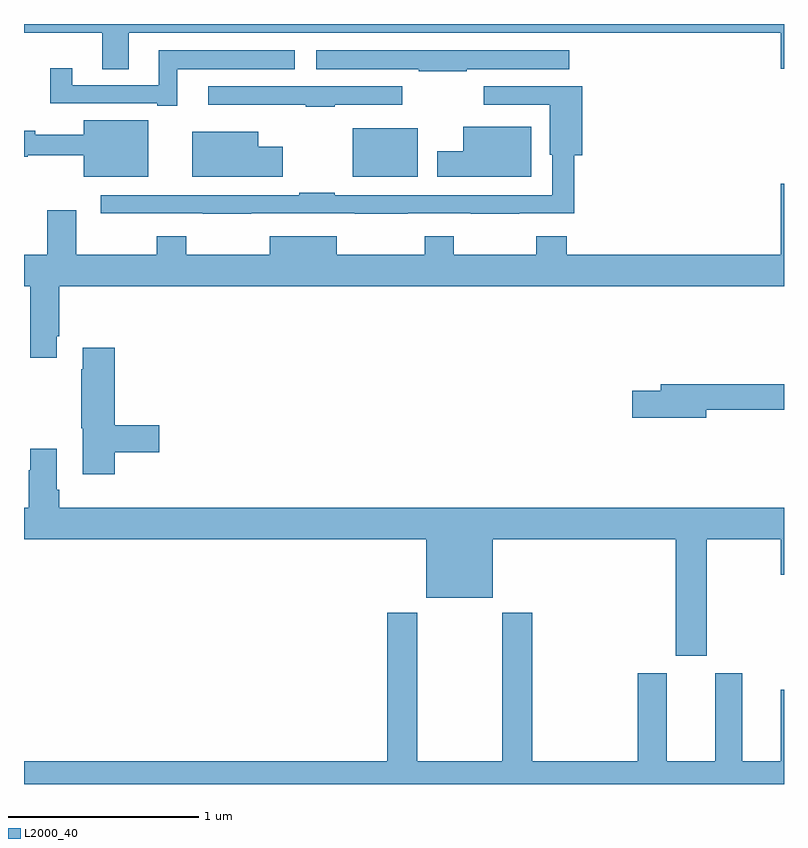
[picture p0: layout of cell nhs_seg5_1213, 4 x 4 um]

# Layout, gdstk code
import gdstk
lib = gdstk.Library(unit=1e-6, precision=1e-09)
def R(c, l, rs):  # rectangles x0, y0, x1, y1
    for r in rs: c.add(gdstk.rectangle(r[:2], r[2:], *l))
def P(c, l, *ps):  # polygons
    for p in ps: c.add(gdstk.Polygon(p, *l))
L2000_40 = (2000, 40)

nhs_seg5_1213 = lib.new_cell('nhs_seg5_1213')
R(nhs_seg5_1213, L2000_40, [(186.731,863.996,187.072,864.25)])
P(nhs_seg5_1213, L2000_40, [(185.551,864.752),(188.984,864.752),(188.984,864.564),(189,864.564),(189,864.799),(185,864.799),(185,864.752),(185.411,864.752),(185.411,864.562),(185.551,864.562)],
  [(185.806,864.56),(186.424,864.56),(186.424,864.661),(185.708,864.661),(185.708,864.477),(185.254,864.477),(185.254,864.565),(185.137,864.565),(185.137,864.381),(185.702,864.381),(185.702,864.369),(185.806,864.369)],
  [(187.331,864.56),(187.87,864.56),(187.87,864.661),(186.537,864.661),(186.537,864.56),(187.078,864.56),(187.078,864.55),(187.331,864.55)],
  [(186.635,864.375),(186.991,864.375),(186.991,864.471),(185.97,864.471),(185.97,864.374),(186.328,864.374),(186.328,864.373),(186.482,864.373),(186.482,864.363),(186.635,864.363)],
  [(186.197,863.802),(186.742,863.802),(186.742,863.801),(187.019,863.801),(187.019,863.802),(187.351,863.802),(187.351,863.801),(187.607,863.801),(187.607,863.802),(187.895,863.802),(187.895,864.107),(187.937,864.107),(187.937,864.471),(187.419,864.471),(187.419,864.375),(187.766,864.375),(187.766,864.111),(187.779,864.111),(187.779,863.898),(186.635,863.898),(186.635,863.911),(186.448,863.911),(186.448,863.898),(185.403,863.898),(185.403,863.802),(185.941,863.802),(185.941,863.801),(186.197,863.801)],
  [(185.653,864.292),(185.315,864.292),(185.315,864.217),(185.06,864.217),(185.06,864.236),(185,864.236),(185,864.1),(185.019,864.1),(185.019,864.108),(185.315,864.108),(185.315,863.996),(185.653,863.996)],
  [(187.669,864.259),(187.313,864.259),(187.313,864.129),(187.176,864.129),(187.176,863.996),(187.669,863.996)],
  [(186.361,864.154),(186.232,864.154),(186.232,864.232),(185.885,864.232),(185.885,863.996),(186.361,863.996)],
  [(185.173,863.155),(185.186,863.155),(185.186,863.42),(189,863.42),(189,863.959),(188.984,863.959),(188.984,863.584),(187.856,863.584),(187.856,863.683),(187.696,863.683),(187.696,863.584),(187.263,863.584),(187.263,863.683),(187.108,863.683),(187.108,863.584),(186.646,863.584),(186.646,863.683),(186.293,863.683),(186.293,863.584),(185.853,863.584),(185.853,863.683),(185.698,863.683),(185.698,863.584),(185.275,863.584),(185.275,863.818),(185.123,863.818),(185.123,863.584),(185,863.584),(185,863.42),(185.033,863.42),(185.033,863.043),(185.173,863.043)],
  [(185.477,862.546),(185.713,862.546),(185.713,862.688),(185.477,862.688),(185.477,863.095),(185.309,863.095),(185.309,862.982),(185.302,862.982),(185.302,862.671),(185.309,862.671),(185.309,862.428),(185.477,862.428)],
  [(188.59,862.768),(189,862.768),(189,862.904),(188.351,862.904),(188.351,862.868),(188.202,862.868),(188.202,862.726),(188.59,862.726)],
  [(185.186,862.348),(185.173,862.348),(185.173,862.564),(185.033,862.564),(185.033,862.451),(185.026,862.451),(185.026,862.252),(185,862.252),(185,862.088),(187.118,862.088),(187.118,861.779),(187.468,861.779),(187.468,862.088),(188.429,862.088),(188.429,861.474),(188.593,861.474),(188.593,862.088),(188.984,862.088),(188.984,861.9),(189,861.9),(189,862.252),(185.186,862.252)],
  [(189,861.295),(188.984,861.295),(188.984,860.92),(188.779,860.92),(188.779,861.382),(188.639,861.382),(188.639,860.92),(188.383,860.92),(188.383,861.382),(188.231,861.382),(188.231,860.92),(187.676,860.92),(187.676,861.7),(187.516,861.7),(187.516,860.92),(187.071,860.92),(187.071,861.7),(186.911,861.7),(186.911,860.92),(185,860.92),(185,860.799),(189,860.799)])

lib.write_gds('nhs_seg5_1213.gds')
